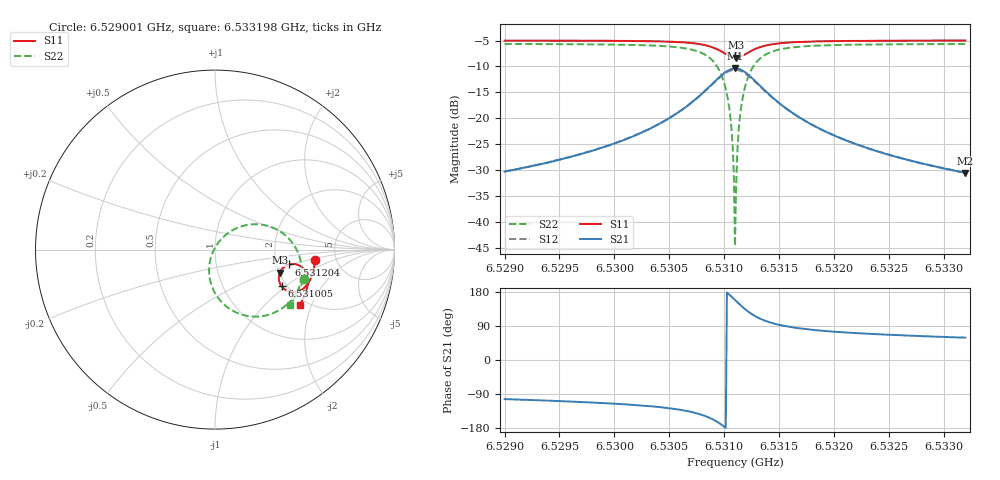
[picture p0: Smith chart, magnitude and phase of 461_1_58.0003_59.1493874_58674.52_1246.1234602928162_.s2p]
#  HZ  S  RI  R  50.00
! Rohde & Schwarz Vector Network Analyzer
! Rohde-Schwarz,ZNB20-2Port,1311601062101988,3.16
! Created: UTC 3/21/2024, 1:10:57 AM
! freq[Hz]  re:S11  im:S11  re:S21  im:S21  re:S12  im:S12  re:S22  im:S22
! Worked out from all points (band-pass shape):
!   401 points, 6.529001 GHz to 6.533198 GHz, reference 50 ohm
!   highest |S21| = -10.38 dB at 6.531099 GHz (marker M1); lowest = -30.5 dB at 6.533198 GHz (marker M2)
!   |S21| within 3 dB of the highest: 6.530891 GHz to 6.531311 GHz (419.9 kHz wide, 0.00643 % of centre)
!   lowest |S11| = -8.3 dB at 6.53111 GHz (marker M3), VSWR 2.25, Z = 101 - j30.2 ohm
!   |S11| at or under -10 dB: nowhere
!   |S22| runs from -44.6 to -5.7 dB; largest |S21 - S12| = 0.012
!   S11 on the Smith chart (normalised r, x): 6.529001 GHz: 3.44, -0.61; 6.531005 GHz: 1.88, -0.93; 6.531204 GHz: 2.34, -0.47; 6.533198 GHz: 1.82, -1.65
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6.5290008e9  0.5578 -0.0603  -0.00701 -0.0298  -0.00753 -0.0298  0.494 -0.1636
6.5297037e9  0.5473 -0.1185  -0.0164 -0.0425  -0.0173 -0.0422  0.4638 -0.2289
6.5304067e9  0.5188 -0.1875  -0.0496 -0.0731  -0.0516 -0.0717  0.3834 -0.3203
6.5308264e9  0.4488 -0.2364  -0.1557 -0.0983  -0.1581 -0.0924  0.1793 -0.3695
6.5309313e9  0.4048 -0.231  -0.2243 -0.0726  -0.2237 -0.0633  0.0624 -0.3158
6.5310047e9  0.3706 -0.2042  -0.2749 -0.015  -0.2694 -0.00539  -0.0148 -0.2108
6.5310362e9  0.3602 -0.1843  -0.2882 0.0229  -0.2805 0.0313  -0.0313 -0.1453
6.5310572e9  0.3565 -0.1689  -0.2916 0.0516  -0.2824 0.0587  -0.0324 -0.0971
6.5310677e9  0.3558 -0.1608  -0.2913 0.0666  -0.2817 0.0728  -0.0294 -0.0726
6.5310782e9  0.3559 -0.1524  -0.2896 0.0817  -0.2795 0.087  -0.0238 -0.0481
6.5310887e9  0.3571 -0.144  -0.2862 0.0967  -0.2759 0.1011  -0.0163 -0.0238
6.5310992e9  0.3591 -0.1359  -0.2814 0.1114  -0.2708 0.1148  -0.00583 -0.00064
6.5311096e9  0.3619 -0.1279  -0.2751 0.1254  -0.2645 0.1279  0.00678 0.0215
6.5311201e9  0.3655 -0.1203  -0.2674 0.1388  -0.257 0.1404  0.0214 0.0425
6.5311306e9  0.37 -0.1131  -0.2586 0.1514  -0.2484 0.152  0.0378 0.0616
6.5311516e9  0.3808 -0.101  -0.238 0.1728  -0.2287 0.172  0.0749 0.0938
6.5312041e9  0.4136 -0.0829  -0.1786 0.2048  -0.172 0.2018  0.1786 0.1375
6.5312775e9  0.4559 -0.0833  -0.1039 0.2069  -0.1006 0.204  0.3044 0.1289
6.5313824e9  0.4927 -0.1056  -0.0396 0.1764  -0.0382 0.1749  0.4094 0.063
6.5318021e9  0.5177 -0.1853  0.0155 0.0852  0.0164 0.0849  0.483 -0.1278
6.5325051e9  0.4982 -0.2567  0.0177 0.0407  0.0184 0.0407  0.4552 -0.2449
6.5331975e9  0.4713 -0.3081  0.0153 0.0255  0.0159 0.0253  0.4203 -0.3063
